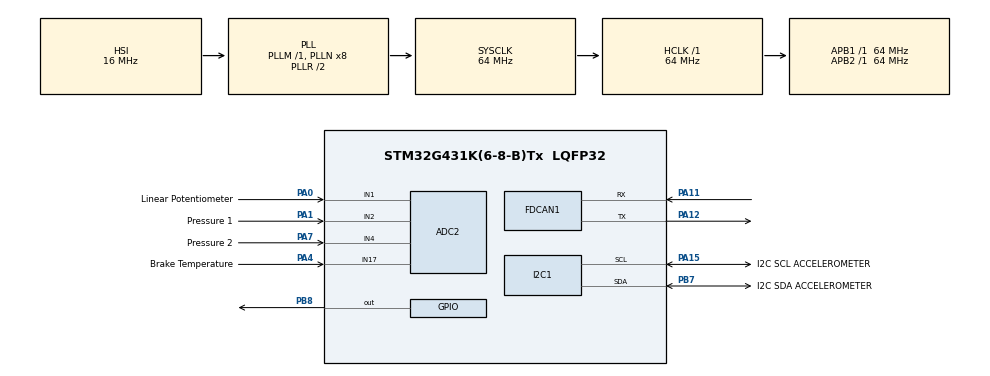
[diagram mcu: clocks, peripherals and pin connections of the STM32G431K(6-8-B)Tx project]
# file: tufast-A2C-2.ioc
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ADC2.Channel-0\#ChannelRegularConversion=ADC_CHANNEL_17
ADC2.Channel-1\#ChannelRegularConversion=ADC_CHANNEL_4
ADC2.Channel-2\#ChannelRegularConversion=ADC_CHANNEL_2
ADC2.Channel-3\#ChannelRegularConversion=ADC_CHANNEL_1
ADC2.EOCSelection=ADC_EOC_SEQ_CONV
ADC2.EnableAnalogWatchDog1=false
ADC2.NbrOfConversion=4
ADC2.NbrOfConversionFlag=1
ADC2.OffsetNumber-0\#ChannelRegularConversion=ADC_OFFSET_NONE
ADC2.OffsetNumber-1\#ChannelRegularConversion=ADC_OFFSET_NONE
ADC2.OffsetNumber-2\#ChannelRegularConversion=ADC_OFFSET_NONE
ADC2.OffsetNumber-3\#ChannelRegularConversion=ADC_OFFSET_NONE
ADC2.Rank-0\#ChannelRegularConversion=1
ADC2.Rank-1\#ChannelRegularConversion=2
ADC2.Rank-2\#ChannelRegularConversion=3
ADC2.Rank-3\#ChannelRegularConversion=4
ADC2.SamplingTime-0\#ChannelRegularConversion=ADC_SAMPLETIME_2CYCLES_5
ADC2.SamplingTime-1\#ChannelRegularConversion=ADC_SAMPLETIME_2CYCLES_5
ADC2.SamplingTime-2\#ChannelRegularConversion=ADC_SAMPLETIME_2CYCLES_5
ADC2.SamplingTime-3\#ChannelRegularConversion=ADC_SAMPLETIME_2CYCLES_5
Dma.ADC2.0.Direction=DMA_PERIPH_TO_MEMORY
Dma.ADC2.0.EventEnable=DISABLE
Dma.ADC2.0.Instance=DMA1_Channel1
Dma.ADC2.0.MemDataAlignment=DMA_MDATAALIGN_HALFWORD
Dma.ADC2.0.MemInc=DMA_MINC_ENABLE
Dma.ADC2.0.Mode=DMA_CIRCULAR
Dma.ADC2.0.PeriphDataAlignment=DMA_PDATAALIGN_HALFWORD
Dma.ADC2.0.PeriphInc=DMA_PINC_DISABLE
Dma.ADC2.0.Polarity=HAL_DMAMUX_REQ_GEN_RISING
Dma.ADC2.0.Priority=DMA_PRIORITY_LOW
Dma.ADC2.0.RequestNumber=1
Dma.ADC2.0.SignalID=NONE
Dma.ADC2.0.SyncEnable=DISABLE
Dma.ADC2.0.SyncPolarity=HAL_DMAMUX_SYNC_NO_EVENT
Dma.ADC2.0.SyncRequestNumber=1
Dma.ADC2.0.SyncSignalID=NONE
Dma.Request0=ADC2
FDCAN1.CalculateBaudRateNominal=500000
FDCAN1.CalculateTimeBitNominal=2000
FDCAN1.CalculateTimeQuantumNominal=125.0
FDCAN1.NominalPrescaler=8
FDCAN1.NominalTimeSeg1=13
FDCAN1.NominalTimeSeg2=2
I2C1.Timing=0x10B17DB5
Mcu.Family=STM32G4
Mcu.Name=STM32G431K(6-8-B)Tx
Mcu.Package=LQFP32
NUCLEO-G431KB.LD2=true
NUCLEO-G431KB.VCP=true
NVIC.ADC1_2_IRQn=true\:0\:0\:false\:false\:true\:true\:true\:true
NVIC.DMA1_Channel1_IRQn=true\:0\:0\:false\:false\:true\:false\:true\:true
NVIC.FDCAN1_IT0_IRQn=true\:0\:0\:false\:false\:true\:true\:true\:true
NVIC.PriorityGroup=NVIC_PRIORITYGROUP_4
PA0.GPIO_Label=Linear Potentiometer
PA0.Mode=IN1-Single-Ended
PA0.Signal=ADC2_IN1
PA1.GPIO_Label=Pressure 1
PA1.Mode=IN2-Single-Ended
PA1.Signal=ADC2_IN2
PA11.Mode=FDCAN_Activate
PA11.Signal=FDCAN1_RX
PA12.Mode=FDCAN_Activate
PA12.Signal=FDCAN1_TX
PA15.GPIO_Label=I2C SCL ACCELEROMETER
PA15.Mode=I2C
PA15.Signal=I2C1_SCL
PA2.Signal=USART2_TX
PA3.Signal=USART2_RX
PA4.GPIO_Label=Brake Temperature
PA4.Mode=IN17-Single-Ended
PA4.Signal=ADC2_IN17
PA7.GPIO_Label=Pressure 2
PA7.Mode=IN4-Single-Ended
PA7.Signal=ADC2_IN4
PB7.GPIO_Label=I2C SDA ACCELEROMETER
PB7.Mode=I2C
PB7.Signal=I2C1_SDA
PB8-BOOT0.Signal=GPIO_Output
ProjectManager.HeapSize=0x200
ProjectManager.StackSize=0x400
ProjectManager.TargetToolchain=STM32CubeIDE
RCC.ADC12CLockSelection=RCC_ADC12CLKSOURCE_PLL
RCC.ADC12Freq_Value=16000000
RCC.AHBFreq_Value=64000000
RCC.APB1Freq_Value=64000000
RCC.APB1TimFreq_Value=64000000
RCC.APB2Freq_Value=64000000
RCC.APB2TimFreq_Value=64000000
RCC.CortexFreq_Value=64000000
RCC.EXTERNAL_CLOCK_VALUE=12288000
RCC.HCLKFreq_Value=64000000
RCC.HSE_VALUE=8000000
RCC.HSI48_VALUE=48000000
RCC.HSI_VALUE=16000000
RCC.LSE_VALUE=32768
RCC.PLLP=RCC_PLLP_DIV8
RCC.SYSCLKFreq_VALUE=64000000
RCC.SYSCLKSource=RCC_SYSCLKSOURCE_PLLCLK
RCC.USBFreq_Value=64000000
RCC.VCOOutputFreq_Value=128000000
VP_NUCLEO-G431KB_VS_BSP_COMMON.Mode=COMMON
VP_SYS_VS_DBSignals.Mode=DisableDeadBatterySignals
board=NUCLEO-G431KB

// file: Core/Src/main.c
/* USER CODE BEGIN Header */
/**
 ******************************************************************************
 * @file           : main.c
 * @brief          : Main program body
 ******************************************************************************
 * @attention
 *
 * Copyright (c) 2025 STMicroelectronics.
 * All rights reserved.
 *
 * This software is licensed under terms that can be found in the LICENSE file
 * in the root directory of this software component.
 * If no LICENSE file comes with this software, it is provided AS-IS.
 *
 ******************************************************************************
 */
/* USER CODE END Header */
#include "main.h"

/* USER CODE BEGIN Includes */
#include <stdbool.h>
/* USER CODE END Includes */

COM_InitTypeDef BspCOMInit;

ADC_HandleTypeDef hadc2;
DMA_HandleTypeDef hdma_adc2;

FDCAN_HandleTypeDef hfdcan1;

I2C_HandleTypeDef hi2c1;

/* USER CODE BEGIN PV */
// Race state
// CAN
FDCAN_TxHeaderTypeDef tx_header;
bytes_eight tx_data;
bytes_four tx_data_four;

FDCAN_RxHeaderTypeDef rx_header;
bytes_eight rx_data;

// ADC
__IO uint8_t adc_complete_flag = 0;
uint16_t raw_adc_values[4];

//Accelerometer Declaration
struct Accelerometer accelerometer;
//Brake Temperature Declaration
float BrakeTemperature, BrakePressureValue, WaterPumpPressure, LinearPotentiometerValue;
//Steering Angle
struct SteeringAngle steering_sensor;
/* USER CODE END PV */

void SystemClock_Config(void);
static void MX_GPIO_Init(void);
static void MX_DMA_Init(void);
static void MX_FDCAN1_Init(void);
static void MX_I2C1_Init(void);
static void MX_ADC2_Init(void);

/* USER CODE BEGIN 0 */
void HAL_FDCAN_RxFifo0Callback(FDCAN_HandleTypeDef* hfdcan, uint32_t RxFifo0ITs) {
    if ((RxFifo0ITs & FDCAN_IT_RX_FIFO0_NEW_MESSAGE) != RESET) {
        HAL_GPIO_TogglePin(GPIOB, GPIO_PIN_8);

        // Retrieve Rx messages from RX FIFO0
        if (HAL_FDCAN_GetRxMessage(hfdcan, FDCAN_RX_FIFO0, &rx_header, rx_data.bytes) != HAL_OK) {
            // Reception Error
            Error_Handler();
        } else {
            // No error, process received payload
            switch (rx_header.Identifier) {
                // TODO: Remove since it's unused
                default:
                    break;
            }
        }

        // Reactive receive notifications
        if (HAL_FDCAN_ActivateNotification(hfdcan, FDCAN_IT_RX_FIFO0_NEW_MESSAGE, 0) != HAL_OK) {
            Error_Handler();
        }
    }
}

// error detection

//set output

void send_CAN_message(uint32_t address, bytes_eight* msg) {
    // Update ID of the transmit header
    tx_header.Identifier = address;

    if (HAL_FDCAN_AddMessageToTxFifoQ(&hfdcan1, &tx_header, msg->bytes) != HAL_OK) {
        Error_Handler();
    }
}
void send_CAN_message_four(uint32_t address, bytes_four* msg) {
    // Update ID of the transmit header
    tx_header.Identifier = address;
    tx_header.DataLength = FDCAN_DLC_BYTES_4;

    if (HAL_FDCAN_AddMessageToTxFifoQ(&hfdcan1, &tx_header, msg->bytes) != HAL_OK) {
        Error_Handler();

    }
    tx_header.DataLength = FDCAN_DLC_BYTES_8;
}

void convert_float_display(float msg_in, bytes_four* msg_out, int decimal_points) {
    msg_out->int_val = (int32_t) (msg_in * decimal_points);
}

//ADC CallBack
void HAL_ADC_ConvCpltCallback(ADC_HandleTypeDef* hadc) {
    adc_complete_flag = 1;
}

// Accelerometer Functions
void accelerometer_init(struct Accelerometer* accelerometer) {
    accelerometer->device_config[0] = 0x18;
    accelerometer->device_config[1] = 2;

    accelerometer->lin_acc_config[0] = 0x10;
    accelerometer->lin_acc_config[1] = 0xAA;

    accelerometer->ang_vel_config[0] = 0x11;
    accelerometer->ang_vel_config[1] = 0xB8;

    accelerometer->lin_acc_out_address = 0x28;
    accelerometer->ang_vel_out_address = 0x22;
}

void convert_acceleration(const uint8_t* data, float* ax, float* ay, float* az) {
    int16_t raw_x = (int16_t) ((data[1] << 8) | data[0]);
    int16_t raw_y = (int16_t) ((data[3] << 8) | data[2]);
    int16_t raw_z = (int16_t) ((data[5] << 8) | data[4]);

    *ax = (raw_x / 65535.0 * 8);
    *ay = (raw_y / 65535.0 * 8);
    *az = (raw_z / 65535.0 * 8);
}

void convert_angular_velocity(const uint8_t* data, float* ax, float* ay, float* az) {
    int16_t raw_x = (int16_t) ((data[1] << 8) | data[0]);
    int16_t raw_y = (int16_t) ((data[3] << 8) | data[2]);
    int16_t raw_z = (int16_t) ((data[5] << 8) | data[4]);

    *ax = (raw_x / 65535.0 * 1000 - 0.06);
    *ay = (raw_y / 65535.0 * 1000 + 0.24);
    *az = (raw_z / 65535.0 * 1000 + 0.03);
}

// Steering Angle Functions
void steering_angle_init(struct SteeringAngle* sa) {
    sa->adc_sum = 0;
    sa->buffer_index = 0;

    // Init buffer with zeroes
    // maybe this can also be done at initialization? TODO
    for (int i = 0; i < STEERING_BUFFER_SIZE; i++) {
        sa->buffer[i] = 0;
    }

    sa->steering_value.float_val = 0.0f;  // init with 0 for safety
}

void steering_angle_avg(struct SteeringAngle* sa, float steering_value) {
    sa->adc_sum -= sa->buffer[sa->buffer_index];

    // Add new sample
    sa->buffer[sa->buffer_index] = steering_value;
    sa->adc_sum += steering_value;

    // Increment index
    sa->buffer_index++;
    if (sa->buffer_index >= 32) {
        sa->buffer_index = 0;
    }

    // Write average value
    sa->steering_value.float_val = sa->adc_sum / 32.0f;
}

//Steering Angle Start
float SteeringAngleADC(uint16_t rawValue) {
    float Steering = (float) (rawValue - 3200) / 4095 * 110;
    return Steering;
}

//Steering Angle End

//Brake Temperature Sensor - Start
float BrakeTemperatureADC(uint16_t rawValue) {
    float Value;

    Value = 565.0 / 4095.0 * (float) rawValue;
    return Value;
}
//Brake Temperature Sensor - End

//Pressure Sensor - Start
float PressureSensorADC(uint16_t rawValue) {
    float Value;

    Value = 39.5 / 2916 * (float) rawValue - 1217.0 / 81.0;
    return Value;
}
//Pressure Sensor -End

//Linear Potentiometer - Start

float LinPotentiometer(uint16_t rawValue) {

    float volt = 3.3f * ((float) rawValue) / 4096.0f;
    float calc = ((float) volt - 0.42f) * 100.0f / 1.65f;

    return calc;
}
//Linear Potentiometer - End

/* USER CODE END 0 */

int main(void)
{

  /* MCU Configuration--------------------------------------------------------*/

  /* Reset of all peripherals, Initializes the Flash interface and the Systick. */
  HAL_Init();

  /* Configure the system clock */
  SystemClock_Config();

  /* Initialize all configured peripherals */
  MX_GPIO_Init();
  MX_DMA_Init();
  MX_FDCAN1_Init();
  MX_I2C1_Init();
  MX_ADC2_Init();
  /* USER CODE BEGIN 2 */
    // Start ADC2
    // Start FDCAN1
    if (HAL_FDCAN_Start(&hfdcan1) != HAL_OK) {
        Error_Handler();
    }
    if (HAL_FDCAN_ActivateNotification(&hfdcan1, FDCAN_IT_RX_FIFO0_NEW_MESSAGE, 0) != HAL_OK) {
        /* Notification Error */
        Error_Handler();
    }

    // Init race state
    // Init sensor structs
    // Accelerometer Init and I2C Init
    accelerometer_init(&accelerometer);

    HAL_I2C_Master_Transmit(&hi2c1, 0xd6, accelerometer.device_config, 2, 1000);

    HAL_I2C_Master_Transmit(&hi2c1, 0xd6, accelerometer.lin_acc_config, 2, 1000);
    HAL_I2C_Master_Transmit(&hi2c1, 0xd6, accelerometer.ang_vel_config, 2, 1000);

    HAL_ADC_Start_DMA(&hadc2, (uint32_t*) raw_adc_values, 4);

  /* USER CODE END 2 */

  /* Initialize leds */
  BSP_LED_Init(LED_GREEN);

  /* Initialize COM1 port (115200, 8 bits (7-bit data + 1 stop bit), no parity */
  BspCOMInit.BaudRate   = 115200;
  BspCOMInit.WordLength = COM_WORDLENGTH_8B;
  BspCOMInit.StopBits   = COM_STOPBITS_1;
  BspCOMInit.Parity     = COM_PARITY_NONE;
  BspCOMInit.HwFlowCtl  = COM_HWCONTROL_NONE;
  if (BSP_COM_Init(COM1, &BspCOMInit) != BSP_ERROR_NONE)
  {
    Error_Handler();
  }

  /* Infinite loop */
  /* USER CODE BEGIN WHILE */
    int can_message_counter = 0;
    while (1) {
//        switch (can_message_counter++) {
//            case 0:
//                convert_float_display(accelerometer.lin_acc_x, &tx_data.first, DECIMAL_POINT_2);
//                convert_float_display(accelerometer.lin_acc_y, &tx_data.second, DECIMAL_POINT_2);
//                send_CAN_message(A2C2_ACC_XY_ID, &tx_data);
//                break;
//            case 1:
//                convert_float_display(accelerometer.lin_acc_z, &tx_data.first, DECIMAL_POINT_2);
//                convert_float_display(accelerometer.ang_vel_x, &tx_data.second, DECIMAL_POINT_2);
//                send_CAN_message(A2C2_ACC_Z_ANG_X_ID, &tx_data);
//                break;
//            case 2:
//                convert_float_display(accelerometer.ang_vel_y, &tx_data.first, DECIMAL_POINT_2);
//                convert_float_display(accelerometer.ang_vel_z, &tx_data.second, DECIMAL_POINT_2);
//                send_CAN_message(A2C2_ANG_YZ_ID, &tx_data);
//                break;
//            case 3:
//                convert_float_display(BrakeTemperature, &tx_data.first, DECIMAL_POINT_2);
//                convert_float_display(WaterPumpPressure, &tx_data.second, DECIMAL_POINT_2);
//                send_CAN_message(A2C_BRAKE_TEMP_WATER_PUMP_ID, &tx_data);
//                break;
//            case 4:
//                convert_float_display(BrakePressureValue, &tx_data.first, DECIMAL_POINT_2);
//                convert_float_display(LinearPotentiometerValue, &tx_data.second, DECIMAL_POINT_2);
//                send_CAN_message(A2C2_PRESSURE_POTENTIOMETER_ID, &tx_data);
//                break;
//        }
//
        // Reset counter if necessary
        if (can_message_counter >= 5) {
            can_message_counter = 0;
        }

        if (adc_complete_flag) {
            BrakeTemperature = BrakeTemperatureADC(raw_adc_values[0]);
            WaterPumpPressure = PressureSensorADC(raw_adc_values[1]);
            BrakePressureValue = PressureSensorADC(raw_adc_values[2]);
            LinearPotentiometerValue = LinPotentiometer(raw_adc_values[3]);

            adc_complete_flag = 0;
            HAL_ADC_Start_DMA(&hadc2, (uint32_t*) raw_adc_values, 4);
        }

        // Accelerometer I2C Start
        HAL_I2C_Master_Transmit(&hi2c1, 0xd6, &(accelerometer.lin_acc_out_address), 1, 1000);
        HAL_I2C_Master_Receive(&hi2c1, 0xd7, accelerometer.lin_acc_out_data, 6, 1000);
        HAL_Delay(10);
        HAL_I2C_Master_Transmit(&hi2c1, 0xd6, &(accelerometer.ang_vel_out_address), 1, 1000);
        HAL_I2C_Master_Receive(&hi2c1, 0xd7, accelerometer.ang_vel_out_data, 6, 1000);

        convert_acceleration(accelerometer.lin_acc_out_data, &(accelerometer.lin_acc_x), &(accelerometer.lin_acc_y),
                &(accelerometer.lin_acc_z));
        convert_angular_velocity(accelerometer.ang_vel_out_data, &(accelerometer.ang_vel_x), &(accelerometer.ang_vel_y),
                &(accelerometer.ang_vel_z));

    /* USER CODE END WHILE */

    }
}

void SystemClock_Config(void)
{
  RCC_OscInitTypeDef RCC_OscInitStruct = {0};
  RCC_ClkInitTypeDef RCC_ClkInitStruct = {0};

  /** Configure the main internal regulator output voltage
  */
  HAL_PWREx_ControlVoltageScaling(PWR_REGULATOR_VOLTAGE_SCALE1);

  /** Initializes the RCC Oscillators according to the specified parameters
  * in the RCC_OscInitTypeDef structure.
  */
  RCC_OscInitStruct.OscillatorType = RCC_OSCILLATORTYPE_HSI;
  RCC_OscInitStruct.HSIState = RCC_HSI_ON;
  RCC_OscInitStruct.HSICalibrationValue = RCC_HSICALIBRATION_DEFAULT;
  RCC_OscInitStruct.PLL.PLLState = RCC_PLL_ON;
  RCC_OscInitStruct.PLL.PLLSource = RCC_PLLSOURCE_HSI;
  RCC_OscInitStruct.PLL.PLLM = RCC_PLLM_DIV1;
  RCC_OscInitStruct.PLL.PLLN = 8;
  RCC_OscInitStruct.PLL.PLLP = RCC_PLLP_DIV8;
  RCC_OscInitStruct.PLL.PLLQ = RCC_PLLQ_DIV2;
  RCC_OscInitStruct.PLL.PLLR = RCC_PLLR_DIV2;
  if (HAL_RCC_OscConfig(&RCC_OscInitStruct) != HAL_OK)
  {
    Error_Handler();
  }

  /** Initializes the CPU, AHB and APB buses clocks
  */
  RCC_ClkInitStruct.ClockType = RCC_CLOCKTYPE_HCLK|RCC_CLOCKTYPE_SYSCLK
                              |RCC_CLOCKTYPE_PCLK1|RCC_CLOCKTYPE_PCLK2;
  RCC_ClkInitStruct.SYSCLKSource = RCC_SYSCLKSOURCE_PLLCLK;
  RCC_ClkInitStruct.AHBCLKDivider = RCC_SYSCLK_DIV1;
  RCC_ClkInitStruct.APB1CLKDivider = RCC_HCLK_DIV1;
  RCC_ClkInitStruct.APB2CLKDivider = RCC_HCLK_DIV1;

  if (HAL_RCC_ClockConfig(&RCC_ClkInitStruct, FLASH_LATENCY_2) != HAL_OK)
  {
    Error_Handler();
  }
}

static void MX_ADC2_Init(void)
{

  ADC_ChannelConfTypeDef sConfig = {0};

  /** Common config
  */
  hadc2.Instance = ADC2;
  hadc2.Init.ClockPrescaler = ADC_CLOCK_SYNC_PCLK_DIV2;
  hadc2.Init.Resolution = ADC_RESOLUTION_12B;
  hadc2.Init.DataAlign = ADC_DATAALIGN_RIGHT;
  hadc2.Init.GainCompensation = 0;
  hadc2.Init.ScanConvMode = ADC_SCAN_ENABLE;
  hadc2.Init.EOCSelection = ADC_EOC_SEQ_CONV;
  hadc2.Init.LowPowerAutoWait = DISABLE;
  hadc2.Init.ContinuousConvMode = DISABLE;
  hadc2.Init.NbrOfConversion = 4;
  hadc2.Init.DiscontinuousConvMode = DISABLE;
  hadc2.Init.ExternalTrigConv = ADC_SOFTWARE_START;
  hadc2.Init.ExternalTrigConvEdge = ADC_EXTERNALTRIGCONVEDGE_NONE;
  hadc2.Init.DMAContinuousRequests = DISABLE;
  hadc2.Init.Overrun = ADC_OVR_DATA_PRESERVED;
  hadc2.Init.OversamplingMode = DISABLE;
  if (HAL_ADC_Init(&hadc2) != HAL_OK)
  {
    Error_Handler();
  }

  /** Configure Regular Channel
  */
  sConfig.Channel = ADC_CHANNEL_17;
  sConfig.Rank = ADC_REGULAR_RANK_1;
  sConfig.SamplingTime = ADC_SAMPLETIME_2CYCLES_5;
  sConfig.SingleDiff = ADC_SINGLE_ENDED;
  sConfig.OffsetNumber = ADC_OFFSET_NONE;
  sConfig.Offset = 0;
  if (HAL_ADC_ConfigChannel(&hadc2, &sConfig) != HAL_OK)
  {
    Error_Handler();
  }

  /** Configure Regular Channel
  */
  sConfig.Channel = ADC_CHANNEL_4;
  sConfig.Rank = ADC_REGULAR_RANK_2;
  if (HAL_ADC_ConfigChannel(&hadc2, &sConfig) != HAL_OK)
  {
    Error_Handler();
  }

  /** Configure Regular Channel
  */
  sConfig.Channel = ADC_CHANNEL_2;
  sConfig.Rank = ADC_REGULAR_RANK_3;
  if (HAL_ADC_ConfigChannel(&hadc2, &sConfig) != HAL_OK)
  {
    Error_Handler();
  }

  /** Configure Regular Channel
  */
  sConfig.Channel = ADC_CHANNEL_1;
  sConfig.Rank = ADC_REGULAR_RANK_4;
  if (HAL_ADC_ConfigChannel(&hadc2, &sConfig) != HAL_OK)
  {
    Error_Handler();
  }

}

static void MX_FDCAN1_Init(void)
{

  hfdcan1.Instance = FDCAN1;
  hfdcan1.Init.ClockDivider = FDCAN_CLOCK_DIV1;
  hfdcan1.Init.FrameFormat = FDCAN_FRAME_CLASSIC;
  hfdcan1.Init.Mode = FDCAN_MODE_NORMAL;
  hfdcan1.Init.AutoRetransmission = DISABLE;
  hfdcan1.Init.TransmitPause = DISABLE;
  hfdcan1.Init.ProtocolException = DISABLE;
  hfdcan1.Init.NominalPrescaler = 8;
  hfdcan1.Init.NominalSyncJumpWidth = 1;
  hfdcan1.Init.NominalTimeSeg1 = 13;
  hfdcan1.Init.NominalTimeSeg2 = 2;
  hfdcan1.Init.DataPrescaler = 1;
  hfdcan1.Init.DataSyncJumpWidth = 1;
  hfdcan1.Init.DataTimeSeg1 = 1;
  hfdcan1.Init.DataTimeSeg2 = 1;
  hfdcan1.Init.StdFiltersNbr = 0;
  hfdcan1.Init.ExtFiltersNbr = 0;
  hfdcan1.Init.TxFifoQueueMode = FDCAN_TX_FIFO_OPERATION;
  if (HAL_FDCAN_Init(&hfdcan1) != HAL_OK)
  {
    Error_Handler();
  }
  /* USER CODE BEGIN FDCAN1_Init 2 */
    tx_header.Identifier = 0x301;  // no need to init address yet
    tx_header.IdType = FDCAN_STANDARD_ID;
    tx_header.TxFrameType = FDCAN_DATA_FRAME;
    tx_header.DataLength = FDCAN_DLC_BYTES_8;
    tx_header.ErrorStateIndicator = FDCAN_ESI_ACTIVE;
    tx_header.BitRateSwitch = FDCAN_BRS_OFF;
    tx_header.FDFormat = FDCAN_CLASSIC_CAN;
    tx_header.TxEventFifoControl = FDCAN_NO_TX_EVENTS;
    tx_header.MessageMarker = 0;
  /* USER CODE END FDCAN1_Init 2 */

}

static void MX_I2C1_Init(void)
{

  hi2c1.Instance = I2C1;
  hi2c1.Init.Timing = 0x10B17DB5;
  hi2c1.Init.OwnAddress1 = 0;
  hi2c1.Init.AddressingMode = I2C_ADDRESSINGMODE_7BIT;
  hi2c1.Init.DualAddressMode = I2C_DUALADDRESS_DISABLE;
  hi2c1.Init.OwnAddress2 = 0;
  hi2c1.Init.OwnAddress2Masks = I2C_OA2_NOMASK;
  hi2c1.Init.GeneralCallMode = I2C_GENERALCALL_DISABLE;
  hi2c1.Init.NoStretchMode = I2C_NOSTRETCH_DISABLE;
  if (HAL_I2C_Init(&hi2c1) != HAL_OK)
  {
    Error_Handler();
  }

  /** Configure Analogue filter
  */
  if (HAL_I2CEx_ConfigAnalogFilter(&hi2c1, I2C_ANALOGFILTER_ENABLE) != HAL_OK)
  {
    Error_Handler();
  }

  /** Configure Digital filter
  */
  if (HAL_I2CEx_ConfigDigitalFilter(&hi2c1, 0) != HAL_OK)
  {
    Error_Handler();
  }

}

static void MX_DMA_Init(void)
{

  /* DMA controller clock enable */
  __HAL_RCC_DMAMUX1_CLK_ENABLE();
  __HAL_RCC_DMA1_CLK_ENABLE();

  /* DMA interrupt init */
  /* DMA1_Channel1_IRQn interrupt configuration */
  HAL_NVIC_SetPriority(DMA1_Channel1_IRQn, 0, 0);
  HAL_NVIC_EnableIRQ(DMA1_Channel1_IRQn);

}

static void MX_GPIO_Init(void)
{

  /* GPIO Ports Clock Enable */
  __HAL_RCC_GPIOA_CLK_ENABLE();
  __HAL_RCC_GPIOB_CLK_ENABLE();

}

/* USER CODE BEGIN Header */
/**
 ******************************************************************************
 * @file           : main.c
 * @brief          : Main program body
 ******************************************************************************
 * @attention
 *
 * Copyright (c) 2025 STMicroelectronics.
 * All rights reserved.
 *
 * This software is licensed under terms that can be found in the LICENSE file
 * in the root directory of this software component.
 * If no LICENSE file comes with this software, it is provided AS-IS.
 *
 ******************************************************************************
 */
/* USER CODE END Header */

void Error_Handler(void)
{
    __disable_irq();
    while (1) {
    }
}
